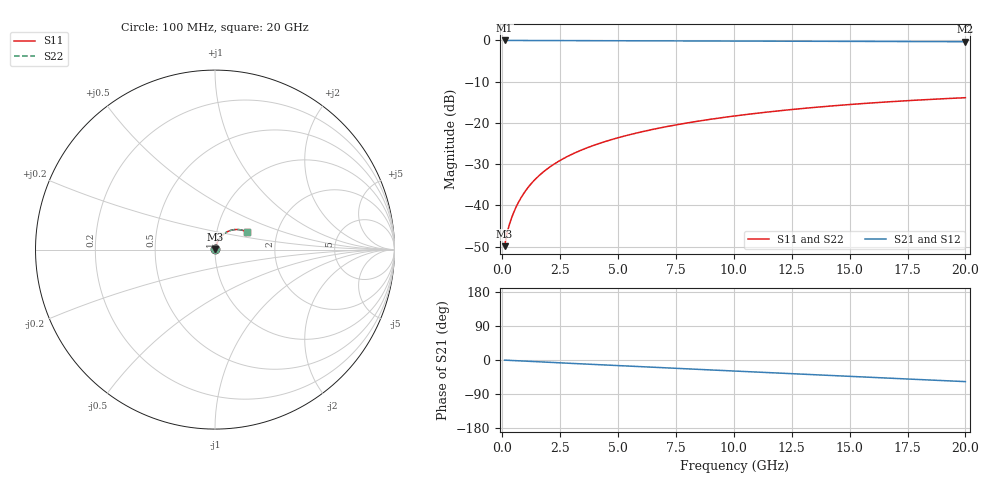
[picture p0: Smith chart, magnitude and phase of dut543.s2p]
! Touchstone file exported from HFSS 2026.1.0
!  File:  C:/ffzhzh/LocalFiles/Ansys_Project_Files/temp_train_TMRDL_543_1783007526_53980.aedt
!  Generated:  11:53:35 PM Jul  2, 2026
!  Design:  TMRDL
!  Project:  temp_train_TMRDL_543_1783007526_53980
! Variables:
!  h_bsmrdl = 2um
!  h_ox = 20um
!  h_rdl = 5um
!  h_sub = 80um
!  h_tmrdl = 5.39um
!  h_tsv = 80um
!  h_via = 3um
!  l_bsmrdl = 300um
!  l_sub = 1393.51um
!  l_tmrdl = 993.51um
!  m_sub = 200um
!  pitch = 41.82um
!  r_tsv = 6um
!  s_tmrdl = 10um
!  w_bsmrdl = 18um
!  w_sub = 500um
!  w_tmrdl = 29.75um
!  x_tsv_center1 = 1008.385um
!  x_tsv_center2 = 1326.385um
!  x_tsv_center3 = 2349.645um
!  x_tsv_center4 = 2667.645um
!  x_tsv_center5 = 3690.905um
!  x_tsv_center6 = 4008.905um
# GHz S MA R 50.000000
! Terminal data exported
! Port[1] = TM_RDL1_1_T1
! Port[2] = TM_RDL1_1_T2
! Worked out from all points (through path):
!   200 points, 100 MHz to 20 GHz, reference 50 ohm
!   highest |S21| = -0.02 dB at 100 MHz (marker M1); lowest = -0.3 dB at 20 GHz (marker M2)
!   group delay of S21, straight-line fit = 7.9 ps
!   lowest |S11| = -49.9 dB at 100 MHz (marker M3), VSWR 1.01, Z = 50.3 + j0.191 ohm
!   |S11| at or under -10 dB: start of sweep to end of sweep
!   |S22| runs from -49.9 to -13.9 dB; largest |S21 - S12| = 1.1e-14
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0.1  0.003203 36.5  0.9974 -0.3  0.9974 -0.3  0.003203 36.5
! Gamma 0 0 0 0
! Port Impedance 50 0 50 0
0.2  0.004544 49.0  0.9971 -0.6  0.9971 -0.6  0.004544 49.0
0.3  0.005799 55.7  0.9968 -0.9  0.9968 -0.9  0.005799 55.7
0.4  0.00704 60.4  0.9967 -1.2  0.9967 -1.2  0.00704 60.4
0.5  0.008305 63.9  0.9966 -1.5  0.9966 -1.5  0.008306 63.9
0.6  0.009599 66.5  0.9965 -1.8  0.9965 -1.8  0.009599 66.5
0.8  0.01225 70.0  0.9963 -2.4  0.9963 -2.4  0.01225 70.0
1  0.01495 72.0  0.9961 -3.0  0.9961 -3.0  0.01495 72.0
1.2  0.01767 73.2  0.9959 -3.6  0.9959 -3.6  0.01767 73.2
1.4  0.02039 73.8  0.9956 -4.2  0.9956 -4.2  0.02039 73.8
1.7  0.02446 74.2  0.9952 -5.1  0.9952 -5.1  0.02446 74.2
2.2  0.03115 73.9  0.9944 -6.6  0.9944 -6.6  0.03115 73.9
2.8  0.03899 73.0  0.9934 -8.4  0.9934 -8.4  0.03898 73.0
3.5  0.04786 71.5  0.9921 -10.4  0.9921 -10.4  0.04786 71.5
4.2  0.05647 69.8  0.9908 -12.5  0.9908 -12.5  0.05647 69.8
5  0.06605 67.9  0.9894 -14.8  0.9894 -14.8  0.06605 67.9
6.8  0.08674 63.5  0.9862 -19.9  0.9862 -19.9  0.08674 63.5
8.4  0.1043 59.4  0.9834 -24.5  0.9834 -24.5  0.1043 59.4
10.1  0.122 55.0  0.9804 -29.4  0.9804 -29.4  0.1219 55.1
13.4  0.1533 46.4  0.9745 -38.7  0.9745 -38.7  0.1533 46.4
16.7  0.1801 37.7  0.9687 -47.9  0.9687 -47.9  0.1801 37.7
20  0.2019 29.0  0.9635 -57.1  0.9635 -57.1  0.2019 29.0
